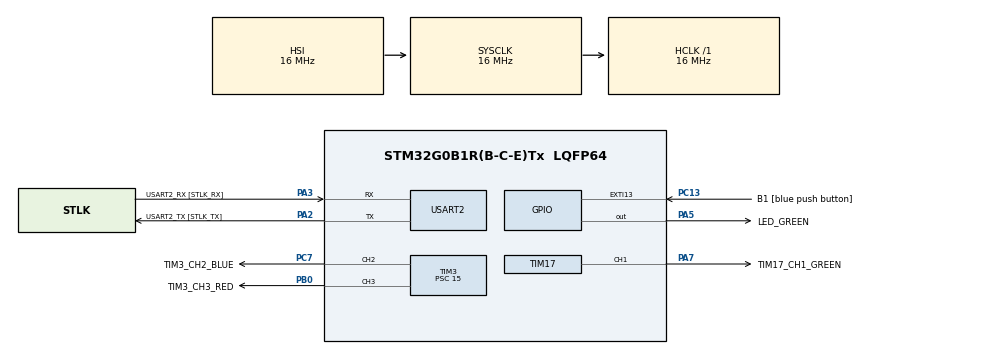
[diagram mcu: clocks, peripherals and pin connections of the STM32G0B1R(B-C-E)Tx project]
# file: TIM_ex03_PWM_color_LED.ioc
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Mcu.Family=STM32G0
Mcu.Name=STM32G0B1R(B-C-E)Tx
Mcu.Package=LQFP64
PA13.GPIO_Label=TMS
PA13.Mode=Serial_Wire
PA13.Signal=SYS_SWDIO
PA14-BOOT0.GPIO_Label=TCK
PA14-BOOT0.Mode=Serial_Wire
PA14-BOOT0.Signal=SYS_SWCLK
PA2.GPIO_Label=USART2_TX [STLK_TX]
PA2.Mode=Asynchronous
PA2.Signal=USART2_TX
PA3.GPIO_Label=USART2_RX [STLK_RX]
PA3.Mode=Asynchronous
PA3.Signal=USART2_RX
PA5.GPIO_Label=LED_GREEN
PA5.GPIO_Speed=GPIO_SPEED_FREQ_HIGH
PA5.Signal=GPIO_Output
PA7.GPIO_Label=TIM17_CH1_GREEN
PA7.Signal=S_TIM17_CH1
PB0.GPIO_Label=TIM3_CH3_RED
PB0.Signal=S_TIM3_CH3
PC13.GPIO_Label=B1 [blue push button]
PC13.Signal=GPXTI13
PC14-OSC32_IN\ (PC14).Mode=LSE-External-Oscillator
PC14-OSC32_IN\ (PC14).Signal=RCC_OSC32_IN
PC15-OSC32_OUT\ (PC15).Mode=LSE-External-Oscillator
PC15-OSC32_OUT\ (PC15).Signal=RCC_OSC32_OUT
PC7.GPIO_Label=TIM3_CH2_BLUE
PC7.Signal=S_TIM3_CH2
PF0-OSC_IN\ (PF0).GPIO_Label=MCO
PF0-OSC_IN\ (PF0).Mode=HSE-External-Clock-Source
PF0-OSC_IN\ (PF0).Signal=RCC_OSC_IN
ProjectManager.HeapSize=0x200
ProjectManager.StackSize=0x400
ProjectManager.TargetToolchain=STM32CubeIDE
RCC.AHBFreq_Value=16000000
RCC.CortexFreq_Value=16000000
RCC.EXTERNAL_CLOCK_VALUE=12288000
RCC.HCLKFreq_Value=16000000
RCC.HSE_VALUE=8000000
RCC.HSI48_VALUE=48000000
RCC.HSI_VALUE=16000000
RCC.SYSCLKFreq_VALUE=16000000
RCC.USBFreq_Value=48000000
RCC.VCOOutputFreq_Value=128000000
SH.S_TIM17_CH1.0=TIM17_CH1,PWM Generation1 CH1
SH.S_TIM3_CH2.0=TIM3_CH2,PWM Generation2 CH2
SH.S_TIM3_CH3.0=TIM3_CH3,PWM Generation3 CH3
TIM17.Channel=TIM_CHANNEL_1
TIM17.Period=254
TIM17.Prescaler=15
TIM3.Channel-PWM\ Generation2\ CH2=TIM_CHANNEL_2
TIM3.Channel-PWM\ Generation3\ CH3=TIM_CHANNEL_3
TIM3.Period=254
TIM3.Prescaler=15
USART2.VirtualMode-Asynchronous=VM_ASYNC
VP_SYS_VS_DBSignals.Mode=DisableDeadBatterySignals
VP_TIM17_VS_ClockSourceINT.Mode=Enable_Timer
VP_TIM3_VS_ClockSourceINT.Mode=Internal
board=NUCLEO-G0B1RE

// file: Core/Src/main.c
/* USER CODE BEGIN Header */
/**
  ******************************************************************************
  * @file           : main.c
  * @brief          : Main program body
  ******************************************************************************
  * @attention
  *
  * Copyright (c) 2026 STMicroelectronics.
  * All rights reserved.
  *
  * This software is licensed under terms that can be found in the LICENSE file
  * in the root directory of this software component.
  * If no LICENSE file comes with this software, it is provided AS-IS.
  *
  ******************************************************************************
  */
/* USER CODE END Header */
#include "main.h"

TIM_HandleTypeDef htim3;
TIM_HandleTypeDef htim17;

UART_HandleTypeDef huart2;

void SystemClock_Config(void);
static void MX_GPIO_Init(void);
static void MX_USART2_UART_Init(void);
static void MX_TIM3_Init(void);
static void MX_TIM17_Init(void);
/* USER CODE BEGIN PFP */
void Set_RGB_Color(uint8_t r, uint8_t g, uint8_t b);
/* USER CODE END PFP */

/* USER CODE BEGIN 0 */
int __io_putchar (int ch){
	HAL_UART_Transmit(&huart2, (uint8_t*)&ch, 1, HAL_MAX_DELAY);
	return ch;
}
int _write(int file, char *ptr, int len){
	HAL_UART_Transmit(&huart2, (uint8_t*)ptr, len, HAL_MAX_DELAY);
	return len;
}

/* USER CODE END 0 */

int main(void)
{

  /* MCU Configuration--------------------------------------------------------*/

  /* Reset of all peripherals, Initializes the Flash interface and the Systick. */
  HAL_Init();

  /* Configure the system clock */
  SystemClock_Config();

  /* Initialize all configured peripherals */
  MX_GPIO_Init();
  MX_USART2_UART_Init();
  MX_TIM3_Init();
  MX_TIM17_Init();
  /* USER CODE BEGIN 2 */
  HAL_TIM_PWM_Start(&htim3, TIM_CHANNEL_3);
  HAL_TIM_PWM_Start(&htim17, TIM_CHANNEL_1);
  HAL_TIM_PWM_Start(&htim3, TIM_CHANNEL_2);

  /* USER CODE END 2 */

  /* Infinite loop */
  /* USER CODE BEGIN WHILE */
  Set_RGB_Color(255, 0, 0);
  while (1)
  {

    /* USER CODE END WHILE */

  }
}

void SystemClock_Config(void)
{
  RCC_OscInitTypeDef RCC_OscInitStruct = {0};
  RCC_ClkInitTypeDef RCC_ClkInitStruct = {0};

  /** Configure the main internal regulator output voltage
  */
  HAL_PWREx_ControlVoltageScaling(PWR_REGULATOR_VOLTAGE_SCALE1);

  /** Initializes the RCC Oscillators according to the specified parameters
  * in the RCC_OscInitTypeDef structure.
  */
  RCC_OscInitStruct.OscillatorType = RCC_OSCILLATORTYPE_HSI;
  RCC_OscInitStruct.HSIState = RCC_HSI_ON;
  RCC_OscInitStruct.HSIDiv = RCC_HSI_DIV1;
  RCC_OscInitStruct.HSICalibrationValue = RCC_HSICALIBRATION_DEFAULT;
  RCC_OscInitStruct.PLL.PLLState = RCC_PLL_NONE;
  if (HAL_RCC_OscConfig(&RCC_OscInitStruct) != HAL_OK)
  {
    Error_Handler();
  }

  /** Initializes the CPU, AHB and APB buses clocks
  */
  RCC_ClkInitStruct.ClockType = RCC_CLOCKTYPE_HCLK|RCC_CLOCKTYPE_SYSCLK
                              |RCC_CLOCKTYPE_PCLK1;
  RCC_ClkInitStruct.SYSCLKSource = RCC_SYSCLKSOURCE_HSI;
  RCC_ClkInitStruct.AHBCLKDivider = RCC_SYSCLK_DIV1;
  RCC_ClkInitStruct.APB1CLKDivider = RCC_HCLK_DIV1;

  if (HAL_RCC_ClockConfig(&RCC_ClkInitStruct, FLASH_LATENCY_0) != HAL_OK)
  {
    Error_Handler();
  }
}

static void MX_TIM3_Init(void)
{

  TIM_ClockConfigTypeDef sClockSourceConfig = {0};
  TIM_MasterConfigTypeDef sMasterConfig = {0};
  TIM_OC_InitTypeDef sConfigOC = {0};

  htim3.Instance = TIM3;
  htim3.Init.Prescaler = 15;
  htim3.Init.CounterMode = TIM_COUNTERMODE_UP;
  htim3.Init.Period = 254;
  htim3.Init.ClockDivision = TIM_CLOCKDIVISION_DIV1;
  htim3.Init.AutoReloadPreload = TIM_AUTORELOAD_PRELOAD_DISABLE;
  if (HAL_TIM_Base_Init(&htim3) != HAL_OK)
  {
    Error_Handler();
  }
  sClockSourceConfig.ClockSource = TIM_CLOCKSOURCE_INTERNAL;
  if (HAL_TIM_ConfigClockSource(&htim3, &sClockSourceConfig) != HAL_OK)
  {
    Error_Handler();
  }
  if (HAL_TIM_PWM_Init(&htim3) != HAL_OK)
  {
    Error_Handler();
  }
  sMasterConfig.MasterOutputTrigger = TIM_TRGO_RESET;
  sMasterConfig.MasterSlaveMode = TIM_MASTERSLAVEMODE_DISABLE;
  if (HAL_TIMEx_MasterConfigSynchronization(&htim3, &sMasterConfig) != HAL_OK)
  {
    Error_Handler();
  }
  sConfigOC.OCMode = TIM_OCMODE_PWM1;
  sConfigOC.Pulse = 0;
  sConfigOC.OCPolarity = TIM_OCPOLARITY_HIGH;
  sConfigOC.OCFastMode = TIM_OCFAST_DISABLE;
  if (HAL_TIM_PWM_ConfigChannel(&htim3, &sConfigOC, TIM_CHANNEL_2) != HAL_OK)
  {
    Error_Handler();
  }
  if (HAL_TIM_PWM_ConfigChannel(&htim3, &sConfigOC, TIM_CHANNEL_3) != HAL_OK)
  {
    Error_Handler();
  }
  HAL_TIM_MspPostInit(&htim3);

}

static void MX_TIM17_Init(void)
{

  TIM_OC_InitTypeDef sConfigOC = {0};
  TIM_BreakDeadTimeConfigTypeDef sBreakDeadTimeConfig = {0};

  htim17.Instance = TIM17;
  htim17.Init.Prescaler = 15;
  htim17.Init.CounterMode = TIM_COUNTERMODE_UP;
  htim17.Init.Period = 254;
  htim17.Init.ClockDivision = TIM_CLOCKDIVISION_DIV1;
  htim17.Init.RepetitionCounter = 0;
  htim17.Init.AutoReloadPreload = TIM_AUTORELOAD_PRELOAD_DISABLE;
  if (HAL_TIM_Base_Init(&htim17) != HAL_OK)
  {
    Error_Handler();
  }
  if (HAL_TIM_PWM_Init(&htim17) != HAL_OK)
  {
    Error_Handler();
  }
  sConfigOC.OCMode = TIM_OCMODE_PWM1;
  sConfigOC.Pulse = 0;
  sConfigOC.OCPolarity = TIM_OCPOLARITY_HIGH;
  sConfigOC.OCNPolarity = TIM_OCNPOLARITY_HIGH;
  sConfigOC.OCFastMode = TIM_OCFAST_DISABLE;
  sConfigOC.OCIdleState = TIM_OCIDLESTATE_RESET;
  sConfigOC.OCNIdleState = TIM_OCNIDLESTATE_RESET;
  if (HAL_TIM_PWM_ConfigChannel(&htim17, &sConfigOC, TIM_CHANNEL_1) != HAL_OK)
  {
    Error_Handler();
  }
  sBreakDeadTimeConfig.OffStateRunMode = TIM_OSSR_DISABLE;
  sBreakDeadTimeConfig.OffStateIDLEMode = TIM_OSSI_DISABLE;
  sBreakDeadTimeConfig.LockLevel = TIM_LOCKLEVEL_OFF;
  sBreakDeadTimeConfig.DeadTime = 0;
  sBreakDeadTimeConfig.BreakState = TIM_BREAK_DISABLE;
  sBreakDeadTimeConfig.BreakPolarity = TIM_BREAKPOLARITY_HIGH;
  sBreakDeadTimeConfig.BreakFilter = 0;
  sBreakDeadTimeConfig.AutomaticOutput = TIM_AUTOMATICOUTPUT_DISABLE;
  if (HAL_TIMEx_ConfigBreakDeadTime(&htim17, &sBreakDeadTimeConfig) != HAL_OK)
  {
    Error_Handler();
  }
  HAL_TIM_MspPostInit(&htim17);

}

static void MX_USART2_UART_Init(void)
{

  huart2.Instance = USART2;
  huart2.Init.BaudRate = 115200;
  huart2.Init.WordLength = UART_WORDLENGTH_8B;
  huart2.Init.StopBits = UART_STOPBITS_1;
  huart2.Init.Parity = UART_PARITY_NONE;
  huart2.Init.Mode = UART_MODE_TX_RX;
  huart2.Init.HwFlowCtl = UART_HWCONTROL_NONE;
  huart2.Init.OverSampling = UART_OVERSAMPLING_16;
  huart2.Init.OneBitSampling = UART_ONE_BIT_SAMPLE_DISABLE;
  huart2.Init.ClockPrescaler = UART_PRESCALER_DIV1;
  huart2.AdvancedInit.AdvFeatureInit = UART_ADVFEATURE_NO_INIT;
  if (HAL_UART_Init(&huart2) != HAL_OK)
  {
    Error_Handler();
  }
  if (HAL_UARTEx_SetTxFifoThreshold(&huart2, UART_TXFIFO_THRESHOLD_1_8) != HAL_OK)
  {
    Error_Handler();
  }
  if (HAL_UARTEx_SetRxFifoThreshold(&huart2, UART_RXFIFO_THRESHOLD_1_8) != HAL_OK)
  {
    Error_Handler();
  }
  if (HAL_UARTEx_DisableFifoMode(&huart2) != HAL_OK)
  {
    Error_Handler();
  }

}

static void MX_GPIO_Init(void)
{
  GPIO_InitTypeDef GPIO_InitStruct = {0};

  /* GPIO Ports Clock Enable */
  __HAL_RCC_GPIOC_CLK_ENABLE();
  __HAL_RCC_GPIOF_CLK_ENABLE();
  __HAL_RCC_GPIOA_CLK_ENABLE();
  __HAL_RCC_GPIOB_CLK_ENABLE();

  /*Configure GPIO pin Output Level */
  HAL_GPIO_WritePin(LED_GREEN_GPIO_Port, LED_GREEN_Pin, GPIO_PIN_RESET);

  /*Configure GPIO pin : B1_Pin */
  GPIO_InitStruct.Pin = B1_Pin;
  GPIO_InitStruct.Mode = GPIO_MODE_IT_RISING;
  GPIO_InitStruct.Pull = GPIO_NOPULL;
  HAL_GPIO_Init(B1_GPIO_Port, &GPIO_InitStruct);

  /*Configure GPIO pin : LED_GREEN_Pin */
  GPIO_InitStruct.Pin = LED_GREEN_Pin;
  GPIO_InitStruct.Mode = GPIO_MODE_OUTPUT_PP;
  GPIO_InitStruct.Pull = GPIO_NOPULL;
  GPIO_InitStruct.Speed = GPIO_SPEED_FREQ_HIGH;
  HAL_GPIO_Init(LED_GREEN_GPIO_Port, &GPIO_InitStruct);

}

/* USER CODE BEGIN 4 */
void Set_RGB_Color(uint8_t r, uint8_t g, uint8_t b){
	__HAL_TIM_SET_COMPARE(&htim3, TIM_CHANNEL_3, r);
	__HAL_TIM_SET_COMPARE(&htim17, TIM_CHANNEL_1, g);
	__HAL_TIM_SET_COMPARE(&htim3, TIM_CHANNEL_2, b);
}
/* USER CODE END 4 */

void Error_Handler(void)
{
  __disable_irq();
  while (1)
  {
  }
}
